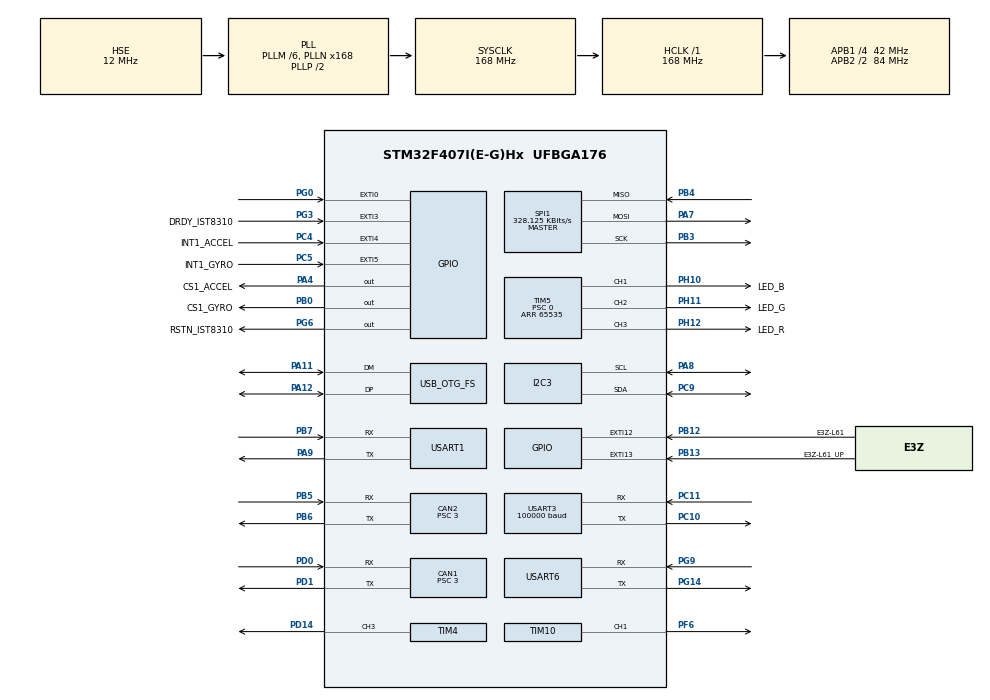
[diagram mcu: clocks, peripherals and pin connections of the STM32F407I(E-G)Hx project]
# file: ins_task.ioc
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CAN1.BS1=CAN_BS1_10TQ
CAN1.BS2=CAN_BS2_3TQ
CAN1.CalculateBaudRate=1000000
CAN1.CalculateTimeBit=1000
CAN1.CalculateTimeQuantum=71.42857142857143
CAN1.Prescaler=3
CAN2.BS1=CAN_BS1_10TQ
CAN2.BS2=CAN_BS2_3TQ
CAN2.CalculateBaudRate=1000000
CAN2.CalculateTimeBit=1000
CAN2.CalculateTimeQuantum=71.42857142857143
CAN2.Prescaler=3
Dma.Request0=SPI1_RX
Dma.Request1=SPI1_TX
Dma.Request2=USART1_TX
Dma.Request3=USART3_RX
Dma.Request4=USART6_RX
Dma.SPI1_RX.0.Direction=DMA_PERIPH_TO_MEMORY
Dma.SPI1_RX.0.FIFOMode=DMA_FIFOMODE_DISABLE
Dma.SPI1_RX.0.Instance=DMA2_Stream2
Dma.SPI1_RX.0.MemDataAlignment=DMA_MDATAALIGN_BYTE
Dma.SPI1_RX.0.MemInc=DMA_MINC_ENABLE
Dma.SPI1_RX.0.Mode=DMA_NORMAL
Dma.SPI1_RX.0.PeriphDataAlignment=DMA_PDATAALIGN_BYTE
Dma.SPI1_RX.0.PeriphInc=DMA_PINC_DISABLE
Dma.SPI1_RX.0.Priority=DMA_PRIORITY_VERY_HIGH
Dma.SPI1_TX.1.Direction=DMA_MEMORY_TO_PERIPH
Dma.SPI1_TX.1.FIFOMode=DMA_FIFOMODE_DISABLE
Dma.SPI1_TX.1.Instance=DMA2_Stream3
Dma.SPI1_TX.1.MemDataAlignment=DMA_MDATAALIGN_BYTE
Dma.SPI1_TX.1.MemInc=DMA_MINC_ENABLE
Dma.SPI1_TX.1.Mode=DMA_NORMAL
Dma.SPI1_TX.1.PeriphDataAlignment=DMA_PDATAALIGN_BYTE
Dma.SPI1_TX.1.PeriphInc=DMA_PINC_DISABLE
Dma.SPI1_TX.1.Priority=DMA_PRIORITY_HIGH
Dma.USART1_TX.2.Direction=DMA_MEMORY_TO_PERIPH
Dma.USART1_TX.2.FIFOMode=DMA_FIFOMODE_DISABLE
Dma.USART1_TX.2.Instance=DMA2_Stream7
Dma.USART1_TX.2.MemDataAlignment=DMA_MDATAALIGN_BYTE
Dma.USART1_TX.2.MemInc=DMA_MINC_ENABLE
Dma.USART1_TX.2.Mode=DMA_NORMAL
Dma.USART1_TX.2.PeriphDataAlignment=DMA_PDATAALIGN_BYTE
Dma.USART1_TX.2.PeriphInc=DMA_PINC_DISABLE
Dma.USART1_TX.2.Priority=DMA_PRIORITY_LOW
Dma.USART3_RX.3.Direction=DMA_PERIPH_TO_MEMORY
Dma.USART3_RX.3.FIFOMode=DMA_FIFOMODE_DISABLE
Dma.USART3_RX.3.Instance=DMA1_Stream1
Dma.USART3_RX.3.MemDataAlignment=DMA_MDATAALIGN_BYTE
Dma.USART3_RX.3.MemInc=DMA_MINC_ENABLE
Dma.USART3_RX.3.Mode=DMA_NORMAL
Dma.USART3_RX.3.PeriphDataAlignment=DMA_PDATAALIGN_BYTE
Dma.USART3_RX.3.PeriphInc=DMA_PINC_DISABLE
Dma.USART3_RX.3.Priority=DMA_PRIORITY_LOW
Dma.USART6_RX.4.Direction=DMA_PERIPH_TO_MEMORY
Dma.USART6_RX.4.FIFOMode=DMA_FIFOMODE_DISABLE
Dma.USART6_RX.4.Instance=DMA2_Stream1
Dma.USART6_RX.4.MemDataAlignment=DMA_MDATAALIGN_BYTE
Dma.USART6_RX.4.MemInc=DMA_MINC_ENABLE
Dma.USART6_RX.4.Mode=DMA_NORMAL
Dma.USART6_RX.4.PeriphDataAlignment=DMA_PDATAALIGN_BYTE
Dma.USART6_RX.4.PeriphInc=DMA_PINC_DISABLE
Dma.USART6_RX.4.Priority=DMA_PRIORITY_HIGH
FREERTOS.INCLUDE_eTaskGetState=1
FREERTOS.INCLUDE_pcTaskGetTaskName=1
FREERTOS.INCLUDE_uxTaskGetStackHighWaterMark=1
FREERTOS.INCLUDE_vTaskCleanUpResources=1
FREERTOS.INCLUDE_vTaskDelayUntil=1
FREERTOS.INCLUDE_xEventGroupSetBitFromISR=1
FREERTOS.INCLUDE_xQueueGetMutexHolder=1
FREERTOS.INCLUDE_xSemaphoreGetMutexHolder=1
FREERTOS.INCLUDE_xTaskAbortDelay=1
FREERTOS.INCLUDE_xTaskGetCurrentTaskHandle=1
FREERTOS.INCLUDE_xTaskGetHandle=1
FREERTOS.INCLUDE_xTimerPendFunctionCall=1
FREERTOS.Tasks01=deBUG_Task,0,256,debug_task,As weak,NULL,Dynamic,NULL,NULL;LEDTask,1,256,led_RGB_flow_task,As weak,NULL,Dynamic,NULL,NULL;INSTask,1,1024,INS_task,As weak,NULL,Dynamic,NULL,NULL;ChassisTask,1,512,chassis_task,As weak,NULL,Dynamic,NULL,NULL;Monitor_Task,1,256,Monitor_task,As weak,NULL,Dynamic,NULL,NULL;functional_zone,1,1024,functional_zone_task,As weak,NULL,Dynamic,NULL,NULL;Striker_task,0,256,striker_task,As weak,NULL,Dynamic,NULL,NULL
FREERTOS.configTOTAL_HEAP_SIZE=24576
I2C3.I2C_Mode=I2C_Fast
Mcu.Family=STM32F4
Mcu.Name=STM32F407I(E-G)Hx
Mcu.Package=UFBGA176
NVIC.CAN1_RX0_IRQn=true\:6\:0\:true\:false\:true\:true\:true\:true\:true
NVIC.CAN2_RX0_IRQn=true\:6\:0\:true\:false\:true\:true\:true\:true\:true
NVIC.DMA1_Stream1_IRQn=true\:5\:0\:false\:false\:true\:true\:false\:true\:true
NVIC.DMA2_Stream1_IRQn=true\:5\:0\:false\:false\:false\:true\:false\:true\:true
NVIC.DMA2_Stream2_IRQn=true\:5\:0\:true\:false\:false\:true\:false\:true\:true
NVIC.DMA2_Stream3_IRQn=true\:5\:0\:true\:false\:false\:true\:false\:true\:true
NVIC.DMA2_Stream7_IRQn=true\:5\:0\:false\:false\:true\:true\:false\:true\:true
NVIC.EXTI0_IRQn=true\:6\:0\:true\:false\:true\:true\:true\:true\:true
NVIC.EXTI15_10_IRQn=true\:5\:0\:false\:false\:true\:true\:true\:true\:true
NVIC.EXTI3_IRQn=true\:5\:0\:true\:false\:true\:true\:true\:true\:true
NVIC.EXTI4_IRQn=true\:5\:0\:true\:false\:true\:true\:true\:true\:true
NVIC.EXTI9_5_IRQn=true\:5\:0\:true\:false\:true\:true\:true\:true\:true
NVIC.OTG_FS_IRQn=true\:5\:0\:false\:false\:true\:true\:false\:true\:true
NVIC.PriorityGroup=NVIC_PRIORITYGROUP_4
NVIC.USART1_IRQn=true\:5\:0\:false\:false\:true\:true\:true\:true\:true
NVIC.USART3_IRQn=true\:4\:0\:true\:false\:false\:false\:true\:true\:true
NVIC.USART6_IRQn=true\:4\:0\:true\:false\:false\:false\:true\:true\:true
PA11.Mode=Device_Only
PA11.Signal=USB_OTG_FS_DM
PA12.Mode=Device_Only
PA12.Signal=USB_OTG_FS_DP
PA13.Mode=Serial_Wire
PA13.Signal=SYS_JTMS-SWDIO
PA14.Mode=Serial_Wire
PA14.Signal=SYS_JTCK-SWCLK
PA4.GPIO_Label=CS1_ACCEL
PA4.GPIO_PuPd=GPIO_PULLUP
PA4.GPIO_Speed=GPIO_SPEED_FREQ_HIGH
PA4.PinState=GPIO_PIN_SET
PA4.Signal=GPIO_Output
PA7.GPIO_PuPd=GPIO_PULLUP
PA7.Mode=Full_Duplex_Master
PA7.Signal=SPI1_MOSI
PA8.GPIO_PuPdOD=GPIO_PULLUP
PA8.Mode=I2C
PA8.Signal=I2C3_SCL
PA9.Mode=Asynchronous
PA9.Signal=USART1_TX
PB0.GPIO_Label=CS1_GYRO
PB0.GPIO_PuPd=GPIO_PULLUP
PB0.GPIO_Speed=GPIO_SPEED_FREQ_HIGH
PB0.PinState=GPIO_PIN_SET
PB0.Signal=GPIO_Output
PB12.GPIO_Label=E3Z-L61
PB12.GPIO_ModeDefaultEXTI=GPIO_MODE_IT_RISING
PB12.GPIO_PuPd=GPIO_PULLUP
PB12.Signal=GPXTI12
PB13.GPIO_Label=E3Z-L61_UP
PB13.GPIO_ModeDefaultEXTI=GPIO_MODE_IT_RISING
PB13.GPIO_PuPd=GPIO_NOPULL
PB13.Signal=GPXTI13
PB3.GPIO_PuPd=GPIO_PULLUP
PB3.Mode=Full_Duplex_Master
PB3.Signal=SPI1_SCK
PB4.GPIO_PuPd=GPIO_PULLUP
PB4.Mode=Full_Duplex_Master
PB4.Signal=SPI1_MISO
PB5.Mode=CAN_Activate
PB5.Signal=CAN2_RX
PB6.Mode=CAN_Activate
PB6.Signal=CAN2_TX
PB7.Mode=Asynchronous
PB7.Signal=USART1_RX
PC10.Mode=Asynchronous
PC10.Signal=USART3_TX
PC11.Mode=Asynchronous
PC11.Signal=USART3_RX
PC4.GPIO_Label=INT1_ACCEL
PC4.GPIO_ModeDefaultEXTI=GPIO_MODE_IT_FALLING
PC4.GPIO_PuPd=GPIO_PULLUP
PC4.Signal=GPXTI4
PC5.GPIO_Label=INT1_GYRO
PC5.GPIO_ModeDefaultEXTI=GPIO_MODE_IT_FALLING
PC5.GPIO_PuPd=GPIO_PULLUP
PC5.Signal=GPXTI5
PC9.GPIO_PuPdOD=GPIO_PULLUP
PC9.Mode=I2C
PC9.Signal=I2C3_SDA
PD0.Mode=CAN_Activate
PD0.Signal=CAN1_RX
PD1.Mode=CAN_Activate
PD1.Signal=CAN1_TX
PD14.Signal=S_TIM4_CH3
PF6.GPIO_PuPd=GPIO_PULLUP
PF6.GPIO_Speed=GPIO_SPEED_FREQ_HIGH
PF6.Signal=S_TIM10_CH1
PG0.GPIO_ModeDefaultEXTI=GPIO_MODE_IT_FALLING
PG0.GPIO_PuPd=GPIO_PULLUP
PG0.Signal=GPXTI0
PG14.Mode=Asynchronous
PG14.Signal=USART6_TX
PG3.GPIO_Label=DRDY_IST8310
PG3.GPIO_ModeDefaultEXTI=GPIO_MODE_IT_FALLING
PG3.GPIO_PuPd=GPIO_PULLUP
PG3.Signal=GPXTI3
PG6.GPIO_Label=RSTN_IST8310
PG6.GPIO_PuPd=GPIO_PULLUP
PG6.GPIO_Speed=GPIO_SPEED_FREQ_MEDIUM
PG6.PinState=GPIO_PIN_SET
PG6.Signal=GPIO_Output
PG9.Mode=Asynchronous
PG9.Signal=USART6_RX
PH0-OSC_IN.Mode=HSE-External-Oscillator
PH0-OSC_IN.Signal=RCC_OSC_IN
PH1-OSC_OUT.Mode=HSE-External-Oscillator
PH1-OSC_OUT.Signal=RCC_OSC_OUT
PH10.GPIO_Label=LED_B
PH10.GPIO_PuPd=GPIO_PULLUP
PH10.GPIO_Speed=GPIO_SPEED_FREQ_HIGH
PH10.Signal=S_TIM5_CH1
PH11.GPIO_Label=LED_G
PH11.GPIO_PuPd=GPIO_PULLUP
PH11.GPIO_Speed=GPIO_SPEED_FREQ_HIGH
PH11.Signal=S_TIM5_CH2
PH12.GPIO_Label=LED_R
PH12.GPIO_PuPd=GPIO_PULLUP
PH12.GPIO_Speed=GPIO_SPEED_FREQ_HIGH
PH12.Signal=S_TIM5_CH3
ProjectManager.HeapSize=0x2000
ProjectManager.StackSize=0x2000
ProjectManager.TargetToolchain=MDK-ARM V5
RCC.48MHZClocksFreq_Value=48000000
RCC.AHBFreq_Value=168000000
RCC.APB1CLKDivider=RCC_HCLK_DIV4
RCC.APB1Freq_Value=42000000
RCC.APB1TimFreq_Value=84000000
RCC.APB2CLKDivider=RCC_HCLK_DIV2
RCC.APB2Freq_Value=84000000
RCC.APB2TimFreq_Value=168000000
RCC.CortexFreq_Value=168000000
RCC.HCLKFreq_Value=168000000
RCC.HSE_VALUE=12000000
RCC.HSI_VALUE=16000000
RCC.LSE_VALUE=32768
RCC.PLLM=6
RCC.PLLN=168
RCC.PLLQ=7
RCC.RCC_RTC_Clock_SourceVirtual=RCC_RTCCLKSOURCE_HSE_DIV30
RCC.RCC_RTC_Clock_Source_FROM_HSE=RCC_RTCCLKSOURCE_HSE_DIV30
RCC.SYSCLKFreq_VALUE=168000000
RCC.SYSCLKSource=RCC_SYSCLKSOURCE_PLLCLK
RCC.VCOOutputFreq_Value=336000000
SH.S_TIM10_CH1.0=TIM10_CH1,PWM Generation1 CH1
SH.S_TIM4_CH3.0=TIM4_CH3,PWM Generation3 CH3
SH.S_TIM5_CH1.0=TIM5_CH1,PWM Generation1 CH1
SH.S_TIM5_CH2.0=TIM5_CH2,PWM Generation2 CH2
SH.S_TIM5_CH3.0=TIM5_CH3,PWM Generation3 CH3
SPI1.BaudRatePrescaler=SPI_BAUDRATEPRESCALER_256
SPI1.CLKPhase=SPI_PHASE_2EDGE
SPI1.CLKPolarity=SPI_POLARITY_HIGH
SPI1.CalculateBaudRate=328.125 KBits/s
SPI1.Direction=SPI_DIRECTION_2LINES
SPI1.Mode=SPI_MODE_MASTER
SPI1.VirtualType=VM_MASTER
TIM10.Channel=TIM_CHANNEL_1
TIM10.Period=4999
TIM4.AutoReloadPreload=TIM_AUTORELOAD_PRELOAD_DISABLE
TIM4.Channel-PWM\ Generation3\ CH3=TIM_CHANNEL_3
TIM4.Period=65535
TIM4.Prescaler=167
TIM4.Pulse-PWM\ Generation3\ CH3=1000
TIM5.Channel-PWM\ Generation1\ CH1=TIM_CHANNEL_1
TIM5.Channel-PWM\ Generation2\ CH2=TIM_CHANNEL_2
TIM5.Channel-PWM\ Generation3\ CH3=TIM_CHANNEL_3
TIM5.Period=65535
TIM5.Prescaler=0
USART1.VirtualMode=VM_ASYNC
USART3.BaudRate=100000
USART3.VirtualMode=VM_ASYNC
USART6.VirtualMode=VM_ASYNC
USB_DEVICE.CLASS_NAME_FS=CDC
USB_DEVICE.VirtualMode-CDC_FS=Cdc
USB_DEVICE.VirtualModeFS=Cdc_FS
USB_OTG_FS.VirtualMode=Device_Only
VP_FREERTOS_VS_CMSIS_V1.Mode=CMSIS_V1
VP_TIM10_VS_ClockSourceINT.Mode=Enable_Timer
VP_TIM4_VS_ClockSourceINT.Mode=Internal
VP_TIM5_VS_ClockSourceINT.Mode=Internal
VP_USB_DEVICE_VS_USB_DEVICE_CDC_FS.Mode=CDC_FS
board=custom

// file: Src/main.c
/* USER CODE BEGIN Header */
/**
  ******************************************************************************
  * @file           : main.c
  * @brief          : Main program body
  ******************************************************************************
  * @attention
  *
  * <h2><center>&copy; Copyright (c) 2019 STMicroelectronics.
  * All rights reserved.</center></h2>
  *
  * This software component is licensed by ST under Ultimate Liberty license
  * SLA0044, the "License"; You may not use this file except in compliance with
  * the License. You may obtain a copy of the License at:
  *                             www.st.com/SLA0044
  *
  ******************************************************************************
  */
/* USER CODE END Header */
#include "main.h"
#include "cmsis_os.h"
#include "can.h"
#include "dma.h"
#include "i2c.h"
#include "spi.h"
#include "tim.h"
#include "usart.h"
#include "usb_device.h"
#include "gpio.h"

/* USER CODE BEGIN Includes */
#include "bsp_delay.h"
#include "bsp_can.h"
#include "remote_control.h"
#include "bsp_buzzer.h"

#include "chassis.h"
#include "remote_control.h"
#include "bat_control.h"
#include "robot.h"
#include "sensor.h"
/* USER CODE END Includes */

void SystemClock_Config(void);
void MX_FREERTOS_Init(void);

int main(void)
{

  /* MCU Configuration--------------------------------------------------------*/

  /* Reset of all peripherals, Initializes the Flash interface and the Systick. */
  HAL_Init();

  /* Configure the system clock */
  SystemClock_Config();

  /* Initialize all configured peripherals */
  MX_GPIO_Init();
  MX_DMA_Init();
  MX_SPI1_Init();
  MX_TIM5_Init();
  MX_I2C3_Init();
  MX_TIM10_Init();
  MX_CAN1_Init();
  MX_CAN2_Init();
  MX_USART1_UART_Init();
  MX_USART3_UART_Init();
  MX_TIM4_Init();
  MX_USART6_UART_Init();
  /* USER CODE BEGIN 2 */
    delay_init();
    can_filter_init();
    MX_USB_DEVICE_Init();
    remote_control_init();
    buzzer_off();
    ops9_init();
    HAL_Delay(500);
    HAL_TIM_Base_Start(&htim4);

    HAL_TIM_PWM_Start(&htim4 , TIM_CHANNEL_3);
  /* USER CODE END 2 */

  /* Call init function for freertos objects (in freertos.c) */
  MX_FREERTOS_Init();

  /* Start scheduler */
  osKernelStart();

  /* We should never get here as control is now taken by the scheduler */
  /* Infinite loop */
  while (1)
  {

  }
}

void SystemClock_Config(void)
{
  RCC_OscInitTypeDef RCC_OscInitStruct = {0};
  RCC_ClkInitTypeDef RCC_ClkInitStruct = {0};

  /** Configure the main internal regulator output voltage
  */
  __HAL_RCC_PWR_CLK_ENABLE();
  __HAL_PWR_VOLTAGESCALING_CONFIG(PWR_REGULATOR_VOLTAGE_SCALE1);

  /** Initializes the RCC Oscillators according to the specified parameters
  * in the RCC_OscInitTypeDef structure.
  */
  RCC_OscInitStruct.OscillatorType = RCC_OSCILLATORTYPE_HSE;
  RCC_OscInitStruct.HSEState = RCC_HSE_ON;
  RCC_OscInitStruct.PLL.PLLState = RCC_PLL_ON;
  RCC_OscInitStruct.PLL.PLLSource = RCC_PLLSOURCE_HSE;
  RCC_OscInitStruct.PLL.PLLM = 6;
  RCC_OscInitStruct.PLL.PLLN = 168;
  RCC_OscInitStruct.PLL.PLLP = RCC_PLLP_DIV2;
  RCC_OscInitStruct.PLL.PLLQ = 7;
  if (HAL_RCC_OscConfig(&RCC_OscInitStruct) != HAL_OK)
  {
    Error_Handler();
  }

  /** Initializes the CPU, AHB and APB buses clocks
  */
  RCC_ClkInitStruct.ClockType = RCC_CLOCKTYPE_HCLK|RCC_CLOCKTYPE_SYSCLK
                              |RCC_CLOCKTYPE_PCLK1|RCC_CLOCKTYPE_PCLK2;
  RCC_ClkInitStruct.SYSCLKSource = RCC_SYSCLKSOURCE_PLLCLK;
  RCC_ClkInitStruct.AHBCLKDivider = RCC_SYSCLK_DIV1;
  RCC_ClkInitStruct.APB1CLKDivider = RCC_HCLK_DIV4;
  RCC_ClkInitStruct.APB2CLKDivider = RCC_HCLK_DIV2;

  if (HAL_RCC_ClockConfig(&RCC_ClkInitStruct, FLASH_LATENCY_5) != HAL_OK)
  {
    Error_Handler();
  }
}

void Error_Handler(void)
{
}

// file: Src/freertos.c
/* USER CODE BEGIN Header */
/**
  ******************************************************************************
  * File Name          : freertos.c
  * Description        : Code for freertos applications
  ******************************************************************************
  * @attention
  *
  * <h2><center>&copy; Copyright (c) 2019 STMicroelectronics.
  * All rights reserved.</center></h2>
  *
  * This software component is licensed by ST under Ultimate Liberty license
  * SLA0044, the "License"; You may not use this file except in compliance with
  * the License. You may obtain a copy of the License at:
  *                             www.st.com/SLA0044
  *
  ******************************************************************************
  */
/* USER CODE END Header */

#include "FreeRTOS.h"
#include "task.h"
#include "main.h"
#include "cmsis_os.h"

/* USER CODE BEGIN Includes */

#include "INS_task.h"
#include "led_flow_task.h"

/* USER CODE END Includes */

/* USER CODE BEGIN PTD */

osThreadId imuTaskHandle;
osThreadId led_RGB_flow_handle;
/* USER CODE END PTD */

osThreadId deBUG_TaskHandle;
osThreadId LEDTaskHandle;
osThreadId INSTaskHandle;
osThreadId ChassisTaskHandle;
osThreadId Monitor_TaskHandle;
osThreadId functional_zoneHandle;
osThreadId Striker_taskHandle;

void debug_task(void const * argument);
void led_RGB_flow_task(void const * argument);
void INS_task(void const * argument);
void chassis_task(void const * argument);
void Monitor_task(void const * argument);
void functional_zone_task(void const * argument);
void striker_task(void const * argument);

extern void MX_USB_DEVICE_Init(void);
void MX_FREERTOS_Init(void); /* (MISRA C 2004 rule 8.1) */

/* GetIdleTaskMemory prototype (linked to static allocation support) */
void vApplicationGetIdleTaskMemory( StaticTask_t **ppxIdleTaskTCBBuffer, StackType_t **ppxIdleTaskStackBuffer, uint32_t *pulIdleTaskStackSize );

/* GetTimerTaskMemory prototype (linked to static allocation support) */
void vApplicationGetTimerTaskMemory( StaticTask_t **ppxTimerTaskTCBBuffer, StackType_t **ppxTimerTaskStackBuffer, uint32_t *pulTimerTaskStackSize );

/* USER CODE BEGIN GET_IDLE_TASK_MEMORY */
static StaticTask_t xIdleTaskTCBBuffer;
static StackType_t xIdleStack[configMINIMAL_STACK_SIZE];

void vApplicationGetIdleTaskMemory( StaticTask_t **ppxIdleTaskTCBBuffer, StackType_t **ppxIdleTaskStackBuffer, uint32_t *pulIdleTaskStackSize )
{
  *ppxIdleTaskTCBBuffer = &xIdleTaskTCBBuffer;
  *ppxIdleTaskStackBuffer = &xIdleStack[0];
  *pulIdleTaskStackSize = configMINIMAL_STACK_SIZE;
  /* place for user code */
}
/* USER CODE END GET_IDLE_TASK_MEMORY */

/* USER CODE BEGIN GET_TIMER_TASK_MEMORY */
static StaticTask_t xTimerTaskTCBBuffer;
static StackType_t xTimerStack[configTIMER_TASK_STACK_DEPTH];

void vApplicationGetTimerTaskMemory( StaticTask_t **ppxTimerTaskTCBBuffer, StackType_t **ppxTimerTaskStackBuffer, uint32_t *pulTimerTaskStackSize )
{
  *ppxTimerTaskTCBBuffer = &xTimerTaskTCBBuffer;
  *ppxTimerTaskStackBuffer = &xTimerStack[0];
  *pulTimerTaskStackSize = configTIMER_TASK_STACK_DEPTH;
  /* place for user code */
}
/* USER CODE END GET_TIMER_TASK_MEMORY */

void MX_FREERTOS_Init(void) {

  /* Create the thread(s) */
  /* definition and creation of deBUG_Task */
  osThreadDef(deBUG_Task, debug_task, osPriorityNormal, 0, 256);
  deBUG_TaskHandle = osThreadCreate(osThread(deBUG_Task), NULL);

  /* definition and creation of LEDTask */
  osThreadDef(LEDTask, led_RGB_flow_task, osPriorityAboveNormal, 0, 256);
  LEDTaskHandle = osThreadCreate(osThread(LEDTask), NULL);

  /* definition and creation of INSTask */
  osThreadDef(INSTask, INS_task, osPriorityAboveNormal, 0, 1024);
  INSTaskHandle = osThreadCreate(osThread(INSTask), NULL);

  /* definition and creation of ChassisTask */
  osThreadDef(ChassisTask, chassis_task, osPriorityAboveNormal, 0, 512);
  ChassisTaskHandle = osThreadCreate(osThread(ChassisTask), NULL);

  /* definition and creation of Monitor_Task */
  osThreadDef(Monitor_Task, Monitor_task, osPriorityAboveNormal, 0, 256);
  Monitor_TaskHandle = osThreadCreate(osThread(Monitor_Task), NULL);

  /* definition and creation of functional_zone */
  osThreadDef(functional_zone, functional_zone_task, osPriorityAboveNormal, 0, 1024);
  functional_zoneHandle = osThreadCreate(osThread(functional_zone), NULL);

  /* definition and creation of Striker_task */
  osThreadDef(Striker_task, striker_task, osPriorityNormal, 0, 256);
  Striker_taskHandle = osThreadCreate(osThread(Striker_task), NULL);

  /* USER CODE BEGIN RTOS_THREADS */
  /* add threads, ... */
    osThreadDef(imuTask, INS_task, osPriorityRealtime, 0, 1024);
    imuTaskHandle = osThreadCreate(osThread(imuTask), NULL);

    osThreadDef(led, led_RGB_flow_task, osPriorityNormal, 0, 256);
    led_RGB_flow_handle = osThreadCreate(osThread(led), NULL);
  /* USER CODE END RTOS_THREADS */

}

__weak void debug_task(void const * argument)
{
  /* init code for USB_DEVICE */
  MX_USB_DEVICE_Init();
  for(;;)
  {
    osDelay(1);
  }
}

__weak void led_RGB_flow_task(void const * argument)
{
  for(;;)
  {
    osDelay(1);
  }
}

__weak void INS_task(void const * argument)
{
  for(;;)
  {
    osDelay(1);
  }
}

__weak void chassis_task(void const * argument)
{
  for(;;)
  {
    osDelay(1);
  }
}

__weak void Monitor_task(void const * argument)
{
  for(;;)
  {
    osDelay(1);
  }
}

__weak void functional_zone_task(void const * argument)
{
  for(;;)
  {
    osDelay(1);
  }
}

__weak void striker_task(void const * argument)
{
  for(;;)
  {
    osDelay(1);
  }
}
